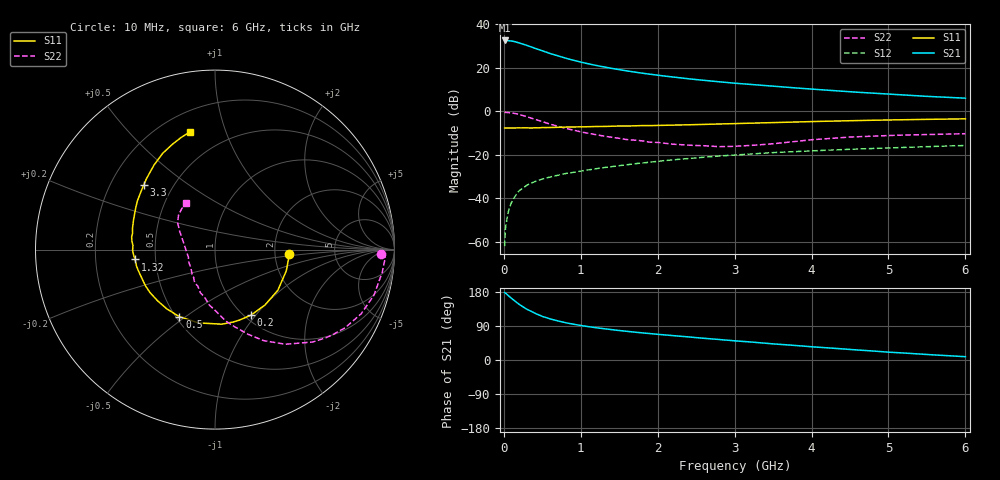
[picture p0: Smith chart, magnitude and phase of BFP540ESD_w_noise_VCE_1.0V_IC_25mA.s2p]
! Infineon Technologies  Discrete & RF Semiconductors
! BFP540ESD
! VCE =  1.0 V,  IC =  25 mA
! Common Emitter S-Parameters:  Nov 2015
# GHz  S  MA  R  50
!  f  S11  S21  S12  S22
! GHz  MAG  ANG  MAG  ANG  MAG  ANG  MAG  ANG
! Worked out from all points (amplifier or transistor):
!   210 points, 10 MHz to 6 GHz, reference 50 ohm
!   highest |S21| = 32.5 dB at 10 MHz (marker M1)
!   |S21| within 3 dB of that: start of sweep to 356.9 MHz
!   unconditionally stable (mu >= 1): start of sweep to 13.67 MHz; 1.874 GHz to end of sweep
!   at 185 MHz: K = 0.25, MSG = 34.3 dB, |S12| = -37.1 dB
!   at 1.52 GHz: K = 0.94, MSG = 21.9 dB, |S12| = -24.9 dB
!   at 6 GHz: K = 1.12, MAG = 8.7 dB, |S12| = -15.7 dB
!   lowest NFmin = 1.29 dB at 900 MHz
!   S11 on the Smith chart (normalised r, x): 10 MHz: 2.40, -0.14; 200 MHz: 1.07, -0.95; 500 MHz: 0.52, -0.47; 1.32 GHz: 0.38, -0.05; 3.3 GHz: 0.34, +0.35; 6 GHz: 0.32, +0.76
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0.01  0.4137 -3.3  42.26 178.2  0.0008 105.8  0.9252 -1.6
0.02  0.4131 -7.3  41.85 177.0  0.0019 96.9  0.95 -2.6
0.05  0.4145 -16.7  42.01 171.3  0.0042 82.8  0.9405 -7.7
0.1  0.4169 -32.8  41.05 162.6  0.0081 83.3  0.9214 -16.0
0.15  0.4158 -47.8  39.41 154.4  0.0114 76.1  0.889 -23.8
0.2  0.4166 -61.2  37.26 146.8  0.015 73.5  0.8458 -31.0
0.26  0.416 -75.7  34.44 138.7  0.0179 68.6  0.7883 -38.6
0.3  0.4173 -84.8  32.59 133.8  0.0201 65.9  0.7493 -43.4
0.4  0.4185 -102.7  28.11 123.4  0.0242 62.3  0.6569 -53.4
0.5  0.4232 -118.0  24.41 115.0  0.0278 59.2  0.5749 -61.9
0.6  0.4255 -129.0  21.2 108.5  0.031 58.1  0.5069 -68.6
0.7  0.4286 -138.4  18.74 103.1  0.0339 57.4  0.4525 -74.7
0.8  0.4342 -146.6  16.59 98.4  0.0372 57.0  0.4069 -80.8
1.02  0.4386 -159.9  13.22 90.4  0.0429 56.1  0.3316 -91.2
1.32  0.4489 -173.0  10.27 82.1  0.0514 54.7  0.2656 -104.1
1.6  0.4576 177.2  8.447 75.6  0.0593 53.8  0.2238 -115.6
2.02  0.4748 165.5  6.65 67.4  0.0716 51.6  0.1908 -131.6
3.1  0.5249 141.6  4.279 49.2  0.1016 43.0  0.1602 -177.3
3.3  0.5362 137.6  4.008 46.1  0.1071 41.0  0.1684 174.3
4.1  0.586 124.3  3.14 33.6  0.1255 33.4  0.2282 150.7
5.1  0.6361 111.0  2.422 19.6  0.1457 24.1  0.2817 135.2
6  0.6703 102.0  1.998 8.7  0.1641 17.2  0.3058 121.7
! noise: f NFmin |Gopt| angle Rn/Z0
0.9  1.29  0.34  -137  0.12
1.8  1.44  0.36  -143  0.12
2.4  1.47  0.37  -133  0.13
3  1.58  0.39  -128  0.15
4  1.65  0.49  -105  0.26
5  1.76  0.57  -87  0.4
6  2.09  0.56  -87  0.63
